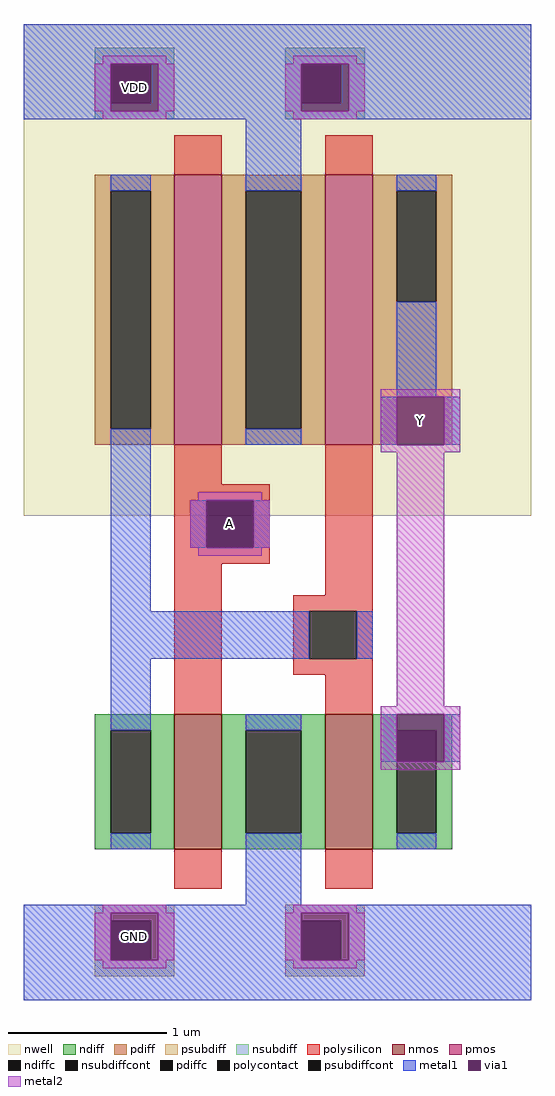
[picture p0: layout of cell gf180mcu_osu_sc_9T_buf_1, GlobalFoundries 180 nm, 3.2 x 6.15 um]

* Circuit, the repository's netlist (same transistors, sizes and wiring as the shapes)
* NGSPICE file created from gf180mcu_osu_sc_9T_buf_1.ext - technology: gf180mcuC

.inc "/import/yukari1/lrburle/globalfoundries-pdk-libs-gf180mcu_osu_sc/char/techfiles/design.hspice"
.lib "/import/yukari1/lrburle/globalfoundries-pdk-libs-gf180mcu_osu_sc/char/techfiles/sm141064.hspice" typical

X0 GND A a_9_19# GND nmos_3p3 w=0.85u l=0.3u
X1 VDD A a_9_19# VDD pmos_3p3 w=1.7u l=0.3u
X2 Y a_9_19# GND GND nmos_3p3 w=0.85u l=0.3u
X3 Y a_9_19# VDD VDD pmos_3p3 w=1.7u l=0.3u

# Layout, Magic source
magic
tech gf180mcuC
<< nwell >>
rect 0 61 64 123
<< nmos >>
rect 19 19 25 36
rect 38 19 44 36
<< pmos >>
rect 19 70 25 104
rect 38 70 44 104
<< ndiff >>
rect 9 34 19 36
rect 9 21 11 34
rect 16 21 19 34
rect 9 19 19 21
rect 25 34 38 36
rect 25 21 28 34
rect 35 21 38 34
rect 25 19 38 21
rect 44 34 54 36
rect 44 21 47 34
rect 52 21 54 34
rect 44 19 54 21
<< pdiff >>
rect 9 102 19 104
rect 9 72 11 102
rect 16 72 19 102
rect 9 70 19 72
rect 25 102 38 104
rect 25 72 28 102
rect 35 72 38 102
rect 25 70 38 72
rect 44 102 54 104
rect 44 88 47 102
rect 52 88 54 102
rect 44 70 54 88
<< ndiffc >>
rect 11 21 16 34
rect 28 21 35 34
rect 47 21 52 34
<< pdiffc >>
rect 11 72 16 102
rect 28 72 35 102
rect 47 88 52 102
<< psubdiff >>
rect 9 10 19 12
rect 9 5 11 10
rect 16 5 19 10
rect 9 3 19 5
rect 33 10 43 12
rect 33 5 35 10
rect 40 5 43 10
rect 33 3 43 5
<< nsubdiff >>
rect 9 118 19 120
rect 9 113 11 118
rect 16 113 19 118
rect 9 111 19 113
rect 33 118 43 120
rect 33 113 35 118
rect 40 113 43 118
rect 33 111 43 113
<< psubdiffcont >>
rect 11 5 16 10
rect 35 5 40 10
<< nsubdiffcont >>
rect 11 113 16 118
rect 35 113 40 118
<< polysilicon >>
rect 19 104 25 109
rect 38 104 44 109
rect 19 65 25 70
rect 19 63 31 65
rect 19 57 23 63
rect 29 57 31 63
rect 19 55 31 57
rect 19 36 25 55
rect 38 51 44 70
rect 34 49 44 51
rect 34 43 36 49
rect 42 43 44 49
rect 34 41 44 43
rect 38 36 44 41
rect 19 14 25 19
rect 38 14 44 19
<< polycontact >>
rect 23 57 29 63
rect 36 43 42 49
<< metal1 >>
rect 0 118 64 123
rect 0 112 11 118
rect 17 112 35 118
rect 41 112 64 118
rect 0 111 64 112
rect 11 102 16 104
rect 11 49 16 72
rect 28 102 35 111
rect 47 102 52 104
rect 47 76 52 88
rect 28 70 35 72
rect 45 70 47 76
rect 53 70 55 76
rect 21 57 23 63
rect 29 57 31 63
rect 11 43 36 49
rect 42 43 44 49
rect 11 34 16 43
rect 11 19 16 21
rect 28 34 35 36
rect 45 30 47 36
rect 53 30 55 36
rect 28 12 35 21
rect 47 19 52 21
rect 0 11 64 12
rect 0 5 11 11
rect 17 5 35 11
rect 41 5 64 11
rect 0 0 64 5
<< via1 >>
rect 11 113 16 118
rect 16 113 17 118
rect 11 112 17 113
rect 35 113 40 118
rect 40 113 41 118
rect 35 112 41 113
rect 47 70 53 76
rect 23 57 29 63
rect 47 34 53 36
rect 47 30 52 34
rect 52 30 53 34
rect 11 10 17 11
rect 11 5 16 10
rect 16 5 17 10
rect 35 10 41 11
rect 35 5 40 10
rect 40 5 41 10
<< metal2 >>
rect 10 118 18 119
rect 34 118 42 119
rect 9 112 11 118
rect 17 112 19 118
rect 33 112 35 118
rect 41 112 43 118
rect 10 111 18 112
rect 34 111 42 112
rect 45 76 55 77
rect 45 70 47 76
rect 53 70 55 76
rect 45 69 55 70
rect 22 63 30 64
rect 21 57 23 63
rect 29 57 31 63
rect 22 56 30 57
rect 47 37 53 69
rect 45 36 55 37
rect 45 30 47 36
rect 53 30 55 36
rect 45 29 55 30
rect 10 11 18 12
rect 34 11 42 12
rect 9 5 11 11
rect 17 5 19 11
rect 33 5 35 11
rect 41 5 43 11
rect 10 4 18 5
rect 34 4 42 5
<< labels >>
rlabel metal2 14 115 14 115 1 VDD
rlabel metal2 14 8 14 8 1 GND
rlabel metal2 26 60 26 60 1 A
port 1 n
rlabel metal2 50 73 50 73 1 Y
port 2 n
<< end >>
